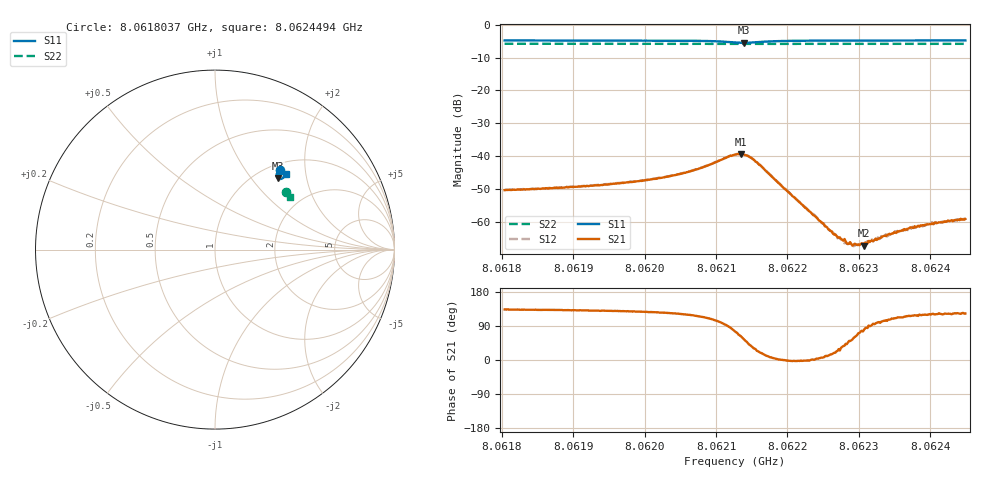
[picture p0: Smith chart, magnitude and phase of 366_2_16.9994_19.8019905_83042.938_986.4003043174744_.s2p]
#  HZ  S  RI  R  50.00
! Rohde & Schwarz Vector Network Analyzer
! Rohde-Schwarz,ZNB20-2Port,1311601062101988,3.16
! Created: UTC 3/20/2024, 11:08:26 PM
! freq[Hz]  re:S11  im:S11  re:S21  im:S21  re:S12  im:S12  re:S22  im:S22
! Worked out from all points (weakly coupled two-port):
!   401 points, 8.0618037 GHz to 8.0624494 GHz, reference 50 ohm
!   highest |S21| = -39.36 dB at 8.0621346 GHz (marker M1); lowest = -67.4 dB at 8.0623074 GHz (marker M2)
!   lowest |S11| = -5.5 dB at 8.0621395 GHz (marker M3), VSWR 3.26, Z = 61.8 + j68.5 ohm
!   |S11| at or under -10 dB: nowhere
!   |S22| runs from -5.9 to -5.8 dB; largest |S21 - S12| = 0.00082
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8.06180373e9  0.3646 0.446  -0.00206 0.00219  -0.00192 0.00235  0.3973 0.3235
8.06191188e9  0.3718 0.4396  -0.00224 0.00259  -0.00211 0.00277  0.4013 0.3182
8.06196838e9  0.3761 0.4353  -0.00245 0.00303  -0.00225 0.0032  0.4034 0.3153
8.06202003e9  0.3805 0.4298  -0.00267 0.00377  -0.00247 0.00392  0.4054 0.3126
8.06206361e9  0.3843 0.4218  -0.00283 0.00511  -0.0025 0.00531  0.4069 0.31
8.06212656e9  0.3662 0.3934  0.00268 0.0102  0.00328 0.0102  0.4079 0.3061
8.06213464e9  0.3556 0.395  0.00492 0.00957  0.00562 0.00915  0.4077 0.3061
8.06213948e9  0.3497 0.3988  0.00623 0.00845  0.00675 0.0081  0.4077 0.306
8.06214755e9  0.3436 0.4084  0.0074 0.00608  0.00782 0.0057  0.4079 0.3062
8.06216046e9  0.3447 0.4231  0.00685 0.00267  0.00717 0.00223  0.4085 0.3061
8.06223471e9  0.3723 0.4347  0.0013 3.44e-05  0.00132 -6.94e-05  0.4125 0.3027
8.06226216e9  0.3769 0.4329  0.00068 0.000185  0.000697 0.000145  0.4136 0.3012
8.06228153e9  0.3793 0.4316  0.00037 0.00034  0.00041 0.000254  0.4142 0.3001
8.06229121e9  0.3804 0.431  0.00025 0.000351  0.000271 0.000331  0.4147 0.2997
8.06230735e9  0.3821 0.4299  7.47e-05 0.000422  0.000103 0.000446  0.4153 0.2989
8.06232672e9  0.3839 0.4287  -8.59e-05 0.000535  -6.93e-05 0.00057  0.4159 0.2979
8.06233479e9  0.3847 0.4283  -0.00014 0.000586  -0.000107 0.000611  0.4162 0.2975
8.06234286e9  0.3853 0.4276  -0.000186 0.000624  -0.000151 0.000613  0.4166 0.297
8.06234771e9  0.3857 0.4275  -0.000214 0.00062  -0.000193 0.000666  0.4166 0.2968
8.06237515e9  0.3878 0.4258  -0.000368 0.000718  -0.000343 0.000762  0.4177 0.2954
8.06239936e9  0.3896 0.4243  -0.000471 0.000785  -0.000397 0.000814  0.4186 0.294
8.0624494e9  0.393 0.4216  -0.000592 0.000922  -0.000545 0.00098  0.4204 0.2915
